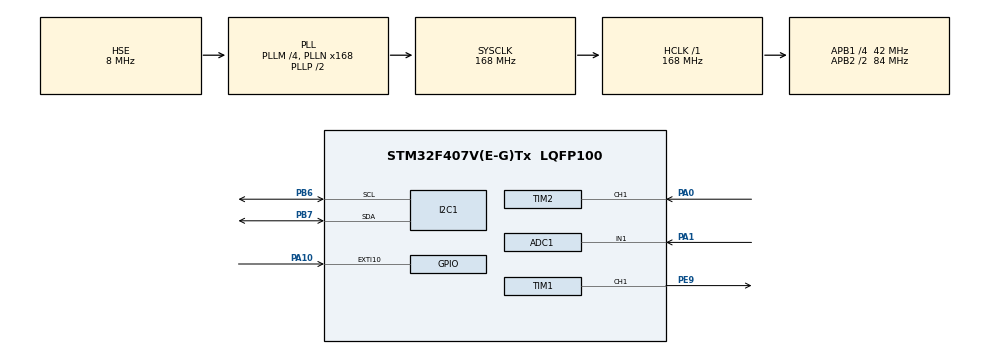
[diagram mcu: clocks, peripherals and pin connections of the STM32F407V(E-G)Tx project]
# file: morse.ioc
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ADC1.Channel-0\#ChannelRegularConversion=ADC_CHANNEL_1
ADC1.NbrOfConversionFlag=1
ADC1.Rank-0\#ChannelRegularConversion=1
ADC1.SamplingTime-0\#ChannelRegularConversion=ADC_SAMPLETIME_3CYCLES
ADC1.master=1
Mcu.Family=STM32F4
Mcu.Name=STM32F407V(E-G)Tx
Mcu.Package=LQFP100
NVIC.EXTI15_10_IRQn=true\:0\:0\:false\:false\:true\:true\:true\:true
NVIC.PriorityGroup=NVIC_PRIORITYGROUP_0
NVIC.TIM2_IRQn=true\:0\:0\:false\:false\:true\:true\:true\:true
PA0-WKUP.Signal=S_TIM2_CH1_ETR
PA1.Signal=ADCx_IN1
PA10.Signal=GPXTI10
PB6.Mode=I2C
PB6.Signal=I2C1_SCL
PB7.Mode=I2C
PB7.Signal=I2C1_SDA
PE9.Signal=S_TIM1_CH1
PH0-OSC_IN.Mode=HSE-External-Oscillator
PH0-OSC_IN.Signal=RCC_OSC_IN
PH1-OSC_OUT.Mode=HSE-External-Oscillator
PH1-OSC_OUT.Signal=RCC_OSC_OUT
ProjectManager.HeapSize=0x200
ProjectManager.StackSize=0x400
ProjectManager.TargetToolchain=STM32CubeIDE
RCC.48MHZClocksFreq_Value=48000000
RCC.AHBFreq_Value=168000000
RCC.APB1CLKDivider=RCC_HCLK_DIV4
RCC.APB1Freq_Value=42000000
RCC.APB1TimFreq_Value=84000000
RCC.APB2CLKDivider=RCC_HCLK_DIV2
RCC.APB2Freq_Value=84000000
RCC.APB2TimFreq_Value=168000000
RCC.CortexFreq_Value=168000000
RCC.HCLKFreq_Value=168000000
RCC.HSE_VALUE=8000000
RCC.HSI_VALUE=16000000
RCC.LSE_VALUE=32768
RCC.PLLM=4
RCC.PLLN=168
RCC.PLLQ=7
RCC.PLLSourceVirtual=RCC_PLLSOURCE_HSE
RCC.SYSCLKFreq_VALUE=168000000
RCC.SYSCLKSource=RCC_SYSCLKSOURCE_PLLCLK
RCC.VCOOutputFreq_Value=336000000
SH.ADCx_IN1.0=ADC1_IN1,IN1
SH.S_TIM1_CH1.0=TIM1_CH1,PWM Generation1 CH1
SH.S_TIM2_CH1_ETR.0=TIM2_CH1,Input_Capture1_from_TI1
TIM1.Channel-PWM\ Generation1\ CH1=TIM_CHANNEL_1
TIM1.Period=100-1
TIM1.Prescaler=168-1
TIM2.Channel-Input_Capture1_from_TI1=TIM_CHANNEL_1
TIM2.ICPolarity_CH1=TIM_INPUTCHANNELPOLARITY_BOTHEDGE
TIM2.Prescaler=84-1
VP_TIM1_VS_ClockSourceINT.Mode=Internal
VP_TIM2_VS_ClockSourceINT.Mode=Internal
board=STM32F407G-DISC1

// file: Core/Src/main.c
/* USER CODE BEGIN Header */
/**
  ******************************************************************************
  * @file           : main.c
  * @brief          : Main program body
  ******************************************************************************
  * @attention
  *
  * Copyright (c) 2023 STMicroelectronics.
  * All rights reserved.
  *
  * This software is licensed under terms that can be found in the LICENSE file
  * in the root directory of this software component.
  * If no LICENSE file comes with this software, it is provided AS-IS.
  *
  ******************************************************************************
  */
/* USER CODE END Header */
#include "main.h"

/* USER CODE BEGIN PD */

const char morse_codes[][5] = {
  ".-",   // A
  "-...", // B
  "-.-.", // C
  "-..",  // D
  ".",    // E
  "..-.", // F
  "--.",  // G
  "....", // H
  "..",   // I
  ".---", // J
  "-.-",  // K
  ".-..", // L
  "--",   // M
  "-.",   // N
  "---",  // O
  ".--.", // P
  "--.-", // Q
  ".-.",  // R
  "...",  // S
  "-",    // T
  "..-",  // U
  "...-", // V
  ".--",  // W
  "-..-", // X
  "-.--", // Y
  "--.."  // Z
};

const char abecedario[][2] = {
  "A",   // A
  "B", // B
  "C", // C
  "D",  // D
  "E",    // E
  "F", // F
  "G",  // G
  "H", // H
  "I",   // I
  "J", // J
  "K",  // K
  "L", // L
  "M",   // M
  "N",   // N
  "O",  // O
  "P", // P
  "Q", // Q
  "R",  // R
  "S",  // S
  "T",    // T
  "U",  // U
  "V", // V
  "W",  // W
  "X", // X
  "Y", // Y
  "Z"  // Z
};

char v_morse[5] = ""; //INPUT
char palabra[17] = ""; // palabra

int caracter; // caracter en el que vamos a escribir en el char de input

/* USER CODE END PD */

ADC_HandleTypeDef hadc1;

I2C_HandleTypeDef hi2c1;

TIM_HandleTypeDef htim1;
TIM_HandleTypeDef htim2;

/* USER CODE BEGIN PV */

uint32_t usWidth = 0;
uint32_t IC_Val1 = 0;
uint32_t IC_Val2 = 0;
uint32_t Difference = 0;
uint32_t usWidth2 = 0; // para ver si es una letra distinta
_Bool letra_nueva;
_Bool fin;
int letra;

int Is_First_Captured = 0;

const uint8_t periodo_comprobacion=25;
int counter=0;
int siguiente_letra = 0;
int tapado;
int restart;

uint32_t ADC_val;

/* USER CODE END PV */

void SystemClock_Config(void);
static void MX_GPIO_Init(void);
static void MX_I2C1_Init(void);
static void MX_TIM1_Init(void);
static void MX_TIM2_Init(void);
static void MX_ADC1_Init(void);
/* USER CODE BEGIN PFP */

void vectorMorse(uint32_t tiempo);
void traducir_display(char* code);
void imprimir(char *frase);
void insertarLetra(char* letra);

/* USER CODE END PFP */

/* USER CODE BEGIN 0 */

void HAL_GPIO_EXTI_Callback(uint16_t GPIO_Pin){

	if(GPIO_Pin == GPIO_PIN_10){
		for (int i = 0; i < 17; i++) {
		    palabra[i] = '\0';
		}
		restart = 1;
	}
}

void HAL_TIM_IC_CaptureCallback(TIM_HandleTypeDef *htim)
{
	if((HAL_GetTick()-counter) >= periodo_comprobacion){ // debouncer

		if (htim->Channel == HAL_TIM_ACTIVE_CHANNEL_1)  // if the interrupt source is channel1
		{
			if (Is_First_Captured==0) // if the first value is not captured
			{
				IC_Val1 = HAL_TIM_ReadCapturedValue(htim, TIM_CHANNEL_1); // read the first value
				Is_First_Captured = 1;  // set the first captured as true

				/*
				if(HAL_GetTick() - siguiente_letra > 5000 && caracter > 0){ // si es true
					traducir_display(v_morse);// insertar nueva letra para resetear el vector de morse;
				}*/
			}

			else   // if the first is already captured
			{
				IC_Val2 = HAL_TIM_ReadCapturedValue(htim, TIM_CHANNEL_1);  // read second value

				if (IC_Val2 > IC_Val1)
				{
					Difference = IC_Val2-IC_Val1;
				}

				else if (IC_Val1 > IC_Val2)
				{
					Difference = (0xffffffff - IC_Val1) + IC_Val2;
				}

				//float refClock = TIMCLOCK/(PRESCALAR);
				float mFactor = 1;

				usWidth = Difference*mFactor;

				__HAL_TIM_SET_COUNTER(htim, 0);  // reset the counter
				Is_First_Captured = 0; // set it back to false

				siguiente_letra = HAL_GetTick(); // comprobar cuándo fue la ultima vez que se levantó el pulsador

				// solo si está tapado el ldr, es cuando está en modo lectura
				if(tapado == 1){
					vectorMorse(usWidth); // mandar tiempo a la funcion
				}

			}
		}

		counter=HAL_GetTick();
	}
}

void vectorMorse(uint32_t tiempo)
{
	if (tiempo <= 300000)
	{
		 strcat(v_morse, ".");
	}
	else {
		strcat(v_morse, "-");
	}
	caracter++;
}

void traducir_display(char* code)
{
	//recorrer la lookup table de morse
	for(int i = 0; i < 26; i++) //
	{
		// si se ha encontrado una coincidencia, mostrar letra
		if(strcmp(code, morse_codes[i]) == 0)
				{
					//imprimir(abecedario[i]); // codigo anterior
					insertarLetra(abecedario[i]);
			     	return;
				}
	}

	// si no encuentra un match reinicia el vector de morse
	for (int i = 0; i < 5; i++) {
	    v_morse[i] = '\0';
	}

	return;
}

void imprimir(char* frase)
{
	 lcd_clear();
	 lcd_set_cursor(0, 0);
	 lcd_send_string(frase);
}

void insertarLetra(char* letra)
{
	strcat(palabra, letra); // le metes a palabra la nueva letra
	for (int i = 0; i < 5; i++) {
	    v_morse[i] = '\0';
	}
	imprimir(palabra);
}

/* USER CODE END 0 */

int main(void)
{

  /* MCU Configuration--------------------------------------------------------*/

  /* Reset of all peripherals, Initializes the Flash interface and the Systick. */
  HAL_Init();

  /* Configure the system clock */
  SystemClock_Config();

  /* Initialize all configured peripherals */
  MX_GPIO_Init();
  MX_I2C1_Init();
  MX_TIM1_Init();
  MX_TIM2_Init();
  MX_ADC1_Init();
  /* USER CODE BEGIN 2 */
  lcd_init();
  lcd_clear();

  lcd_set_cursor(0, 0);
  imprimir("HEYY");

  TIM1->CCR1 = 20;
  HAL_TIM_PWM_Start(&htim1, TIM_CHANNEL_1);
  HAL_TIM_IC_Start_IT(&htim2, TIM_CHANNEL_1);

  ADC_val = 0;
  restart = 0;
  /* USER CODE END 2 */

  /* Infinite loop */
  while (1)
  {

    /* USER CODE BEGIN 3 */

	  //LDR

	  //Lee continuamente el ldr, y en cuanto se tape entre en modo lectura
	  //
	   HAL_ADC_Start(&hadc1);
	   if (HAL_ADC_PollForConversion(&hadc1, 100)==HAL_OK)
	   {
	   ADC_val=HAL_ADC_GetValue(&hadc1);
	   }
	   HAL_ADC_Stop(&hadc1);

	   if(ADC_val < 3000){  // Tapado
		  //Lee datos
		   tapado = 1;
	   }
	   else if(ADC_val >= 3000 && tapado == 1){  // destapado
		   traducir_display(v_morse); // insertamos a la letra a la palabra
		   letra++;
		   tapado = 0;
	   }

	   if( restart == 1){
		   imprimir("RESTART");
		   restart = 0;
	   }

  }
  /* USER CODE END 3 */
}

void SystemClock_Config(void)
{
  RCC_OscInitTypeDef RCC_OscInitStruct = {0};
  RCC_ClkInitTypeDef RCC_ClkInitStruct = {0};

  /** Configure the main internal regulator output voltage
  */
  __HAL_RCC_PWR_CLK_ENABLE();
  __HAL_PWR_VOLTAGESCALING_CONFIG(PWR_REGULATOR_VOLTAGE_SCALE1);

  /** Initializes the RCC Oscillators according to the specified parameters
  * in the RCC_OscInitTypeDef structure.
  */
  RCC_OscInitStruct.OscillatorType = RCC_OSCILLATORTYPE_HSE;
  RCC_OscInitStruct.HSEState = RCC_HSE_ON;
  RCC_OscInitStruct.PLL.PLLState = RCC_PLL_ON;
  RCC_OscInitStruct.PLL.PLLSource = RCC_PLLSOURCE_HSE;
  RCC_OscInitStruct.PLL.PLLM = 4;
  RCC_OscInitStruct.PLL.PLLN = 168;
  RCC_OscInitStruct.PLL.PLLP = RCC_PLLP_DIV2;
  RCC_OscInitStruct.PLL.PLLQ = 7;
  if (HAL_RCC_OscConfig(&RCC_OscInitStruct) != HAL_OK)
  {
    Error_Handler();
  }

  /** Initializes the CPU, AHB and APB buses clocks
  */
  RCC_ClkInitStruct.ClockType = RCC_CLOCKTYPE_HCLK|RCC_CLOCKTYPE_SYSCLK
                              |RCC_CLOCKTYPE_PCLK1|RCC_CLOCKTYPE_PCLK2;
  RCC_ClkInitStruct.SYSCLKSource = RCC_SYSCLKSOURCE_PLLCLK;
  RCC_ClkInitStruct.AHBCLKDivider = RCC_SYSCLK_DIV1;
  RCC_ClkInitStruct.APB1CLKDivider = RCC_HCLK_DIV4;
  RCC_ClkInitStruct.APB2CLKDivider = RCC_HCLK_DIV2;

  if (HAL_RCC_ClockConfig(&RCC_ClkInitStruct, FLASH_LATENCY_5) != HAL_OK)
  {
    Error_Handler();
  }
}

static void MX_ADC1_Init(void)
{

  ADC_ChannelConfTypeDef sConfig = {0};

  /** Configure the global features of the ADC (Clock, Resolution, Data Alignment and number of conversion)
  */
  hadc1.Instance = ADC1;
  hadc1.Init.ClockPrescaler = ADC_CLOCK_SYNC_PCLK_DIV4;
  hadc1.Init.Resolution = ADC_RESOLUTION_12B;
  hadc1.Init.ScanConvMode = DISABLE;
  hadc1.Init.ContinuousConvMode = DISABLE;
  hadc1.Init.DiscontinuousConvMode = DISABLE;
  hadc1.Init.ExternalTrigConvEdge = ADC_EXTERNALTRIGCONVEDGE_NONE;
  hadc1.Init.ExternalTrigConv = ADC_SOFTWARE_START;
  hadc1.Init.DataAlign = ADC_DATAALIGN_RIGHT;
  hadc1.Init.NbrOfConversion = 1;
  hadc1.Init.DMAContinuousRequests = DISABLE;
  hadc1.Init.EOCSelection = ADC_EOC_SINGLE_CONV;
  if (HAL_ADC_Init(&hadc1) != HAL_OK)
  {
    Error_Handler();
  }

  /** Configure for the selected ADC regular channel its corresponding rank in the sequencer and its sample time.
  */
  sConfig.Channel = ADC_CHANNEL_1;
  sConfig.Rank = 1;
  sConfig.SamplingTime = ADC_SAMPLETIME_3CYCLES;
  if (HAL_ADC_ConfigChannel(&hadc1, &sConfig) != HAL_OK)
  {
    Error_Handler();
  }

}

static void MX_I2C1_Init(void)
{

  hi2c1.Instance = I2C1;
  hi2c1.Init.ClockSpeed = 100000;
  hi2c1.Init.DutyCycle = I2C_DUTYCYCLE_2;
  hi2c1.Init.OwnAddress1 = 0;
  hi2c1.Init.AddressingMode = I2C_ADDRESSINGMODE_7BIT;
  hi2c1.Init.DualAddressMode = I2C_DUALADDRESS_DISABLE;
  hi2c1.Init.OwnAddress2 = 0;
  hi2c1.Init.GeneralCallMode = I2C_GENERALCALL_DISABLE;
  hi2c1.Init.NoStretchMode = I2C_NOSTRETCH_DISABLE;
  if (HAL_I2C_Init(&hi2c1) != HAL_OK)
  {
    Error_Handler();
  }

}

static void MX_TIM1_Init(void)
{

  TIM_ClockConfigTypeDef sClockSourceConfig = {0};
  TIM_MasterConfigTypeDef sMasterConfig = {0};
  TIM_OC_InitTypeDef sConfigOC = {0};
  TIM_BreakDeadTimeConfigTypeDef sBreakDeadTimeConfig = {0};

  htim1.Instance = TIM1;
  htim1.Init.Prescaler = 168-1;
  htim1.Init.CounterMode = TIM_COUNTERMODE_UP;
  htim1.Init.Period = 100-1;
  htim1.Init.ClockDivision = TIM_CLOCKDIVISION_DIV1;
  htim1.Init.RepetitionCounter = 0;
  htim1.Init.AutoReloadPreload = TIM_AUTORELOAD_PRELOAD_DISABLE;
  if (HAL_TIM_Base_Init(&htim1) != HAL_OK)
  {
    Error_Handler();
  }
  sClockSourceConfig.ClockSource = TIM_CLOCKSOURCE_INTERNAL;
  if (HAL_TIM_ConfigClockSource(&htim1, &sClockSourceConfig) != HAL_OK)
  {
    Error_Handler();
  }
  if (HAL_TIM_PWM_Init(&htim1) != HAL_OK)
  {
    Error_Handler();
  }
  sMasterConfig.MasterOutputTrigger = TIM_TRGO_RESET;
  sMasterConfig.MasterSlaveMode = TIM_MASTERSLAVEMODE_DISABLE;
  if (HAL_TIMEx_MasterConfigSynchronization(&htim1, &sMasterConfig) != HAL_OK)
  {
    Error_Handler();
  }
  sConfigOC.OCMode = TIM_OCMODE_PWM1;
  sConfigOC.Pulse = 0;
  sConfigOC.OCPolarity = TIM_OCPOLARITY_HIGH;
  sConfigOC.OCNPolarity = TIM_OCNPOLARITY_HIGH;
  sConfigOC.OCFastMode = TIM_OCFAST_DISABLE;
  sConfigOC.OCIdleState = TIM_OCIDLESTATE_RESET;
  sConfigOC.OCNIdleState = TIM_OCNIDLESTATE_RESET;
  if (HAL_TIM_PWM_ConfigChannel(&htim1, &sConfigOC, TIM_CHANNEL_1) != HAL_OK)
  {
    Error_Handler();
  }
  sBreakDeadTimeConfig.OffStateRunMode = TIM_OSSR_DISABLE;
  sBreakDeadTimeConfig.OffStateIDLEMode = TIM_OSSI_DISABLE;
  sBreakDeadTimeConfig.LockLevel = TIM_LOCKLEVEL_OFF;
  sBreakDeadTimeConfig.DeadTime = 0;
  sBreakDeadTimeConfig.BreakState = TIM_BREAK_DISABLE;
  sBreakDeadTimeConfig.BreakPolarity = TIM_BREAKPOLARITY_HIGH;
  sBreakDeadTimeConfig.AutomaticOutput = TIM_AUTOMATICOUTPUT_DISABLE;
  if (HAL_TIMEx_ConfigBreakDeadTime(&htim1, &sBreakDeadTimeConfig) != HAL_OK)
  {
    Error_Handler();
  }
  HAL_TIM_MspPostInit(&htim1);

}

static void MX_TIM2_Init(void)
{

  TIM_ClockConfigTypeDef sClockSourceConfig = {0};
  TIM_MasterConfigTypeDef sMasterConfig = {0};
  TIM_IC_InitTypeDef sConfigIC = {0};

  htim2.Instance = TIM2;
  htim2.Init.Prescaler = 84-1;
  htim2.Init.CounterMode = TIM_COUNTERMODE_UP;
  htim2.Init.Period = 4294967295;
  htim2.Init.ClockDivision = TIM_CLOCKDIVISION_DIV1;
  htim2.Init.AutoReloadPreload = TIM_AUTORELOAD_PRELOAD_DISABLE;
  if (HAL_TIM_Base_Init(&htim2) != HAL_OK)
  {
    Error_Handler();
  }
  sClockSourceConfig.ClockSource = TIM_CLOCKSOURCE_INTERNAL;
  if (HAL_TIM_ConfigClockSource(&htim2, &sClockSourceConfig) != HAL_OK)
  {
    Error_Handler();
  }
  if (HAL_TIM_IC_Init(&htim2) != HAL_OK)
  {
    Error_Handler();
  }
  sMasterConfig.MasterOutputTrigger = TIM_TRGO_RESET;
  sMasterConfig.MasterSlaveMode = TIM_MASTERSLAVEMODE_DISABLE;
  if (HAL_TIMEx_MasterConfigSynchronization(&htim2, &sMasterConfig) != HAL_OK)
  {
    Error_Handler();
  }
  sConfigIC.ICPolarity = TIM_INPUTCHANNELPOLARITY_BOTHEDGE;
  sConfigIC.ICSelection = TIM_ICSELECTION_DIRECTTI;
  sConfigIC.ICPrescaler = TIM_ICPSC_DIV1;
  sConfigIC.ICFilter = 0;
  if (HAL_TIM_IC_ConfigChannel(&htim2, &sConfigIC, TIM_CHANNEL_1) != HAL_OK)
  {
    Error_Handler();
  }

}

static void MX_GPIO_Init(void)
{
  GPIO_InitTypeDef GPIO_InitStruct = {0};

  /* GPIO Ports Clock Enable */
  __HAL_RCC_GPIOH_CLK_ENABLE();
  __HAL_RCC_GPIOA_CLK_ENABLE();
  __HAL_RCC_GPIOE_CLK_ENABLE();
  __HAL_RCC_GPIOB_CLK_ENABLE();

  /*Configure GPIO pin : PA10 */
  GPIO_InitStruct.Pin = GPIO_PIN_10;
  GPIO_InitStruct.Mode = GPIO_MODE_IT_RISING;
  GPIO_InitStruct.Pull = GPIO_NOPULL;
  HAL_GPIO_Init(GPIOA, &GPIO_InitStruct);

  /* EXTI interrupt init*/
  HAL_NVIC_SetPriority(EXTI15_10_IRQn, 0, 0);
  HAL_NVIC_EnableIRQ(EXTI15_10_IRQn);

}

void Error_Handler(void)
{
  __disable_irq();
  while (1)
  {
  }
}
